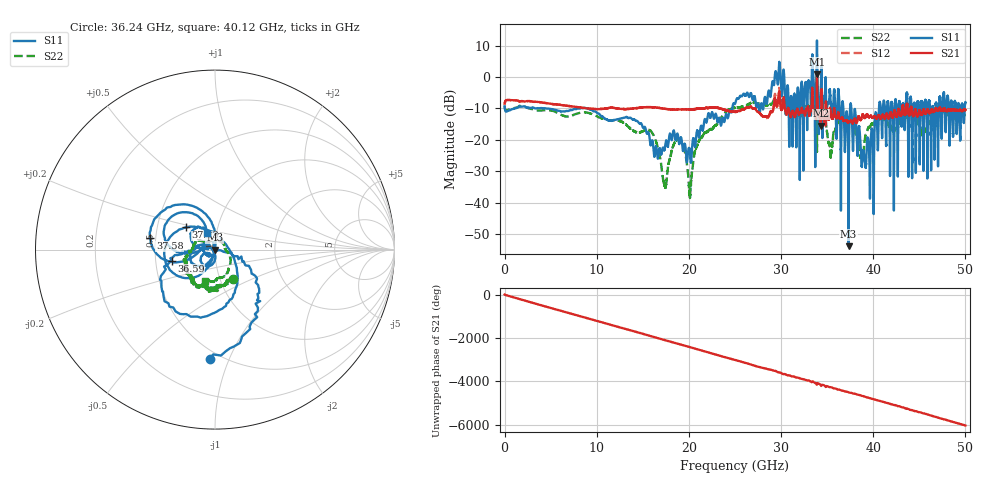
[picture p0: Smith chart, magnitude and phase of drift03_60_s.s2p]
!Created with skrf (http://scikit-rf.org).
# Hz S RI R 50.0
!freq ReS11 ImS11 ReS21 ImS21 ReS12 ImS12 ReS22 ImS22
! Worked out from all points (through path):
!   10001 points, 300 kHz to 50 GHz, reference 50 ohm
!   highest |S21| = 0.86 dB at 33.9 GHz (marker M1); lowest = -15.5 dB at 34.32 GHz (marker M2)
!   group delay of S21, straight-line fit = 335 ps
!   lowest |S11| = -53.9 dB at 37.33 GHz (marker M3), VSWR 1.00, Z = 49.8 - j0.0889 ohm
!   |S11| at or under -10 dB: 4.467 GHz to 7.945 GHz (3.478 GHz wide, 56 % of centre); 9.03 GHz to 24.7 GHz (15.67 GHz wide, 92.9 % of centre); 37.62 GHz to 40.62 GHz (3 GHz wide, 7.67 % of centre) (the widest 3 of 52)
!   |S22| runs from -38.6 to -5.8 dB; largest |S21 - S12| = 0.11
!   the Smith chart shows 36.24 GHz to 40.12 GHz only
!   S11 on the Smith chart (normalised r, x): 36.24 GHz: 0.44, -0.85; 36.59 GHz: 0.61, -0.08; 37.03 GHz: 0.70, +0.18; 37.58 GHz: 0.47, +0.07; 40.12 GHz: 0.90, +0.17
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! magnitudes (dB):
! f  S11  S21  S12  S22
! 300 kHz  -9.3  -8.5  -8.5  -9.3
! 8.335 GHz  -9.9  -9.8  -9.8  -11.3
! 16.67 GHz  -25.4  -9.8  -9.8  -23.2
! 17.39 GHz  -22.6  -10.1  -10.1  -35.1
! 19.09 GHz  -19.6  -10.3  -10.3  -20.1
! 20.13 GHz  -24.5  -10.3  -10.3  -36.7
! 21.19 GHz  -17.8  -10.1  -10.1  -19.7
! 25 GHz  -8.5  -11.1  -11.1  -9.9
! 31.08 GHz  -6.1  -12.7  -12.7  -10.5
! 33.34 GHz  0.5  -7.4  -7.5  -9.4
! 33.9 GHz  11.7  0.9  0.4  -23.9
! 34.32 GHz  -2.9  -15.5  -14.9  -11.2
! 35.34 GHz  -6.1  -10.5  -9.9  -24.2
! 36.24 GHz  -4.3  -11.7  -11.7  -14.3
! 36.59 GHz  -12.0  -13.0  -13.1  -13.3
! 37.03 GHz  -13.8  -13.8  -14.0  -13.2
! 37.33 GHz  -53.9  -14.3  -14.5  -13.6
! 37.58 GHz  -8.7  -13.9  -13.9  -14.4
! 38.71 GHz  -26.0  -13.4  -13.4  -25.5
! 40.12 GHz  -19.9  -12.5  -12.6  -14.8
! 41.67 GHz  -9.5  -13.2  -13.2  -14.8
! 50 GHz  -8.0  -10.5  -10.6  -12.2
